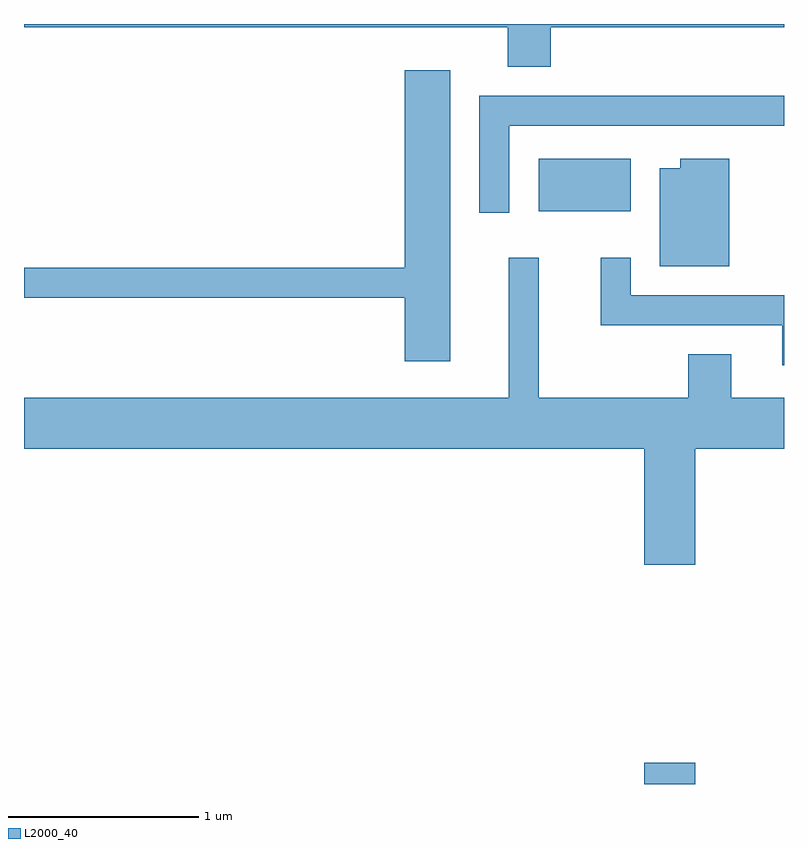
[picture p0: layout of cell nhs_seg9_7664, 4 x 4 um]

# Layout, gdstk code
import gdstk
lib = gdstk.Library(unit=1e-6, precision=1e-09)
def R(c, l, rs):  # rectangles x0, y0, x1, y1
    for r in rs: c.add(gdstk.rectangle(r[:2], r[2:], *l))
def P(c, l, *ps):  # polygons
    for p in ps: c.add(gdstk.Polygon(p, *l))
L2000_40 = (2000, 40)

nhs_seg9_7664 = lib.new_cell('nhs_seg9_7664')
R(nhs_seg9_7664, L2000_40, [(414.876,2054.432,415.144,2054.544), (414.321,2057.446,414.804,2057.724)])
P(nhs_seg9_7664, L2000_40, [(414.384,2058.416),(415.611,2058.416),(415.611,2058.432),(411.611,2058.432),(411.611,2058.416),(414.156,2058.416),(414.156,2058.206),(414.384,2058.206)],
  [(413.854,2058.189),(413.616,2058.189),(413.616,2057.149),(411.611,2057.149),(411.611,2056.991),(413.616,2056.991),(413.616,2056.656),(413.854,2056.656)],
  [(414.164,2057.896),(415.611,2057.896),(415.611,2058.054),(414.006,2058.054),(414.006,2057.438),(414.164,2057.438)],
  [(415.324,2057.724),(415.066,2057.724),(415.066,2057.674),(414.956,2057.674),(414.956,2057.156),(415.324,2057.156)],
  [(414.161,2057.202),(414.161,2056.464),(411.611,2056.464),(411.611,2056.196),(414.876,2056.196),(414.876,2055.586),(415.144,2055.586),(415.144,2056.196),(415.611,2056.196),(415.611,2056.464),(415.334,2056.464),(415.334,2056.694),(415.106,2056.694),(415.106,2056.464),(414.319,2056.464),(414.319,2057.202)],
  [(415.611,2057.004),(414.804,2057.004),(414.804,2057.202),(414.646,2057.202),(414.646,2056.846),(415.601,2056.846),(415.601,2056.636),(415.611,2056.636)])

lib.write_gds('nhs_seg9_7664.gds')
